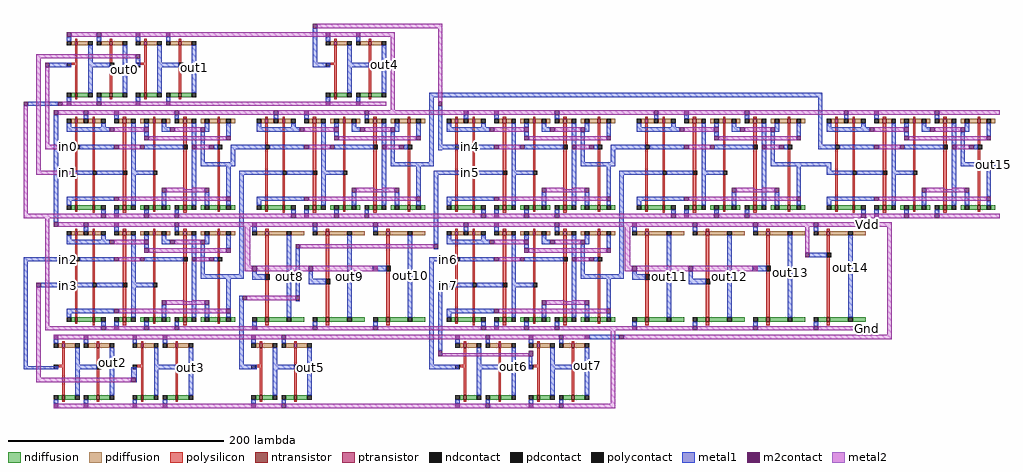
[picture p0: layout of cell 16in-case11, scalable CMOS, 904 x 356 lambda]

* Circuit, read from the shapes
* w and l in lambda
.subckt 16in-case11 Gnd Vdd in0 in1 in2 in3 in4 in5 in6 in7 out0 out1 out10 out11 out12 out13 out14 out15 out2 out3 out4 out5 out6 out7 out8 out9
M1 n1 in2 Gnd VSUBS nfet w=4 l=2
M2 n2 in2 n3 VSUBS nfet w=4 l=2
M3 n4 in0 n5 VSUBS nfet w=4 l=2
M4 n6 in0 Gnd VSUBS nfet w=4 l=2
M5 Gnd in3 n2 VSUBS nfet w=4 l=2
M6 Gnd in1 n4 VSUBS nfet w=4 l=2
M7 out2 n1 Gnd VSUBS nfet w=4 l=2
M8 out0 n6 Gnd VSUBS nfet w=4 l=2
M9 n7 in3 Gnd VSUBS nfet w=4 l=3
M10 n8 in1 Gnd VSUBS nfet w=4 l=3
M11 n9 in3 Gnd VSUBS nfet w=4 l=2
M12 n10 in1 Gnd VSUBS nfet w=4 l=2
M13 n11 n7 Gnd VSUBS nfet w=4 l=2
M14 n12 n8 Gnd VSUBS nfet w=4 l=2
M15 out3 n9 Gnd VSUBS nfet w=4 l=2
M16 out1 n10 Gnd VSUBS nfet w=4 l=2
M17 n13 in2 Gnd VSUBS nfet w=4 l=3
M18 n14 in0 Gnd VSUBS nfet w=4 l=3
M19 n3 n13 n11 VSUBS nfet w=4 l=2
M20 n5 n14 n12 VSUBS nfet w=4 l=2
M21 n15 in5 Gnd VSUBS nfet w=4 l=2
M22 out8 Vdd Gnd VSUBS nfet w=4 l=3
M23 n16 n5 n17 VSUBS nfet w=4 l=2
M24 Gnd n3 n16 VSUBS nfet w=4 l=2
M25 out5 n15 Gnd VSUBS nfet w=4 l=2
M26 n18 n3 Gnd VSUBS nfet w=4 l=3
M27 out9 Vdd Gnd VSUBS nfet w=4 l=3
M28 n19 in4 Gnd VSUBS nfet w=4 l=2
M29 n20 n18 Gnd VSUBS nfet w=4 l=2
M30 out4 n19 Gnd VSUBS nfet w=4 l=2
M31 n21 n5 Gnd VSUBS nfet w=4 l=3
M32 out10 Vdd Gnd VSUBS nfet w=4 l=3
M33 n17 n21 n20 VSUBS nfet w=4 l=2
M34 n22 in6 n23 VSUBS nfet w=4 l=2
M35 n24 in4 n25 VSUBS nfet w=4 l=2
M36 n26 in6 Gnd VSUBS nfet w=4 l=2
M37 Gnd in7 n22 VSUBS nfet w=4 l=2
M38 Gnd in5 n24 VSUBS nfet w=4 l=2
M39 out6 n26 Gnd VSUBS nfet w=4 l=2
M40 n27 in7 Gnd VSUBS nfet w=4 l=3
M41 n28 in5 Gnd VSUBS nfet w=4 l=3
M42 n29 n27 Gnd VSUBS nfet w=4 l=2
M43 n30 n28 Gnd VSUBS nfet w=4 l=2
M44 n31 in7 Gnd VSUBS nfet w=4 l=2
M45 n32 in6 Gnd VSUBS nfet w=4 l=3
M46 n33 in4 Gnd VSUBS nfet w=4 l=3
M47 out7 n31 Gnd VSUBS nfet w=4 l=2
M48 n23 n32 n29 VSUBS nfet w=4 l=2
M49 n25 n33 n30 VSUBS nfet w=4 l=2
M50 out11 Vdd Gnd VSUBS nfet w=4 l=3
M51 n34 n25 n35 VSUBS nfet w=4 l=2
M52 Gnd n23 n34 VSUBS nfet w=4 l=2
M53 n36 n23 Gnd VSUBS nfet w=4 l=3
M54 out12 Vdd Gnd VSUBS nfet w=4 l=3
M55 n37 n36 Gnd VSUBS nfet w=4 l=2
M56 n38 n25 Gnd VSUBS nfet w=4 l=3
M57 out13 Vdd Gnd VSUBS nfet w=4 l=3
M58 n35 n38 n37 VSUBS nfet w=4 l=2
M59 out14 Vdd Gnd VSUBS nfet w=4 l=3
M60 n39 n17 out15 VSUBS nfet w=4 l=2
M61 Gnd n35 n39 VSUBS nfet w=4 l=2
M62 n40 n35 Gnd VSUBS nfet w=4 l=3
M63 n41 n40 Gnd VSUBS nfet w=4 l=2
M64 n42 n17 Gnd VSUBS nfet w=4 l=3
M65 out15 n42 n41 VSUBS nfet w=4 l=2
M66 n1 in2 Vdd NWELL pfet w=4 l=2
M67 Vdd in2 n43 NWELL pfet w=4 l=2
M68 Vdd in0 n44 NWELL pfet w=4 l=2
M69 n6 in0 Vdd NWELL pfet w=4 l=2
M70 n43 in3 Vdd NWELL pfet w=4 l=2
M71 n44 in1 Vdd NWELL pfet w=4 l=2
M72 out2 n1 Vdd NWELL pfet w=4 l=2
M73 out0 n6 Vdd NWELL pfet w=4 l=2
M74 n7 in3 Vdd NWELL pfet w=4 l=3
M75 n8 in1 Vdd NWELL pfet w=4 l=3
M76 n9 in3 Vdd NWELL pfet w=4 l=2
M77 n10 in1 Vdd NWELL pfet w=4 l=2
M78 n3 n7 n43 NWELL pfet w=4 l=2
M79 n5 n8 n44 NWELL pfet w=4 l=2
M80 out3 n9 Vdd NWELL pfet w=4 l=2
M81 out1 n10 Vdd NWELL pfet w=4 l=2
M82 n13 in2 Vdd NWELL pfet w=4 l=3
M83 n14 in0 Vdd NWELL pfet w=4 l=3
M84 n43 n13 n3 NWELL pfet w=4 l=2
M85 n44 n14 n5 NWELL pfet w=4 l=2
M86 n15 in5 Vdd NWELL pfet w=4 l=2
M87 out8 Vdd Vdd NWELL pfet w=4 l=3
M88 Vdd n5 n45 NWELL pfet w=4 l=2
M89 n45 n3 Vdd NWELL pfet w=4 l=2
M90 out5 n15 Vdd NWELL pfet w=4 l=2
M91 n18 n3 Vdd NWELL pfet w=4 l=3
M92 out9 Vdd Vdd NWELL pfet w=4 l=3
M93 n19 in4 Vdd NWELL pfet w=4 l=2
M94 n17 n18 n45 NWELL pfet w=4 l=2
M95 out4 n19 Vdd NWELL pfet w=4 l=2
M96 n21 n5 Vdd NWELL pfet w=4 l=3
M97 out10 Vdd Vdd NWELL pfet w=4 l=3
M98 n45 n21 n17 NWELL pfet w=4 l=2
M99 Vdd in6 n46 NWELL pfet w=4 l=2
M100 Vdd in4 n47 NWELL pfet w=4 l=2
M101 n26 in6 Vdd NWELL pfet w=4 l=2
M102 n46 in7 Vdd NWELL pfet w=4 l=2
M103 n47 in5 Vdd NWELL pfet w=4 l=2
M104 out6 n26 Vdd NWELL pfet w=4 l=2
M105 n27 in7 Vdd NWELL pfet w=4 l=3
M106 n28 in5 Vdd NWELL pfet w=4 l=3
M107 n23 n27 n46 NWELL pfet w=4 l=2
M108 n25 n28 n47 NWELL pfet w=4 l=2
M109 n31 in7 Vdd NWELL pfet w=4 l=2
M110 n32 in6 Vdd NWELL pfet w=4 l=3
M111 n33 in4 Vdd NWELL pfet w=4 l=3
M112 out7 n31 Vdd NWELL pfet w=4 l=2
M113 n46 n32 n23 NWELL pfet w=4 l=2
M114 n47 n33 n25 NWELL pfet w=4 l=2
M115 out11 Vdd Vdd NWELL pfet w=4 l=3
M116 Vdd n25 n48 NWELL pfet w=4 l=2
M117 n48 n23 Vdd NWELL pfet w=4 l=2
M118 n36 n23 Vdd NWELL pfet w=4 l=3
M119 out12 Vdd Vdd NWELL pfet w=4 l=3
M120 n35 n36 n48 NWELL pfet w=4 l=2
M121 n38 n25 Vdd NWELL pfet w=4 l=3
M122 out13 Vdd Vdd NWELL pfet w=4 l=3
M123 n48 n38 n35 NWELL pfet w=4 l=2
M124 out14 Vdd Vdd NWELL pfet w=4 l=3
M125 Vdd n17 n49 NWELL pfet w=4 l=2
M126 n49 n35 Vdd NWELL pfet w=4 l=2
M127 n40 n35 Vdd NWELL pfet w=4 l=3
M128 out15 n40 n49 NWELL pfet w=4 l=2
M129 n42 n17 Vdd NWELL pfet w=4 l=3
M130 n49 n42 out15 NWELL pfet w=4 l=2
.ends

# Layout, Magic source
magic
tech scmos
<< metal1 >>
rect -12 244 8 248
rect 68 245 72 252
rect 232 248 236 280
rect 56 240 60 244
rect 120 242 124 246
rect 232 244 248 248
rect 296 244 300 248
rect 340 216 704 220
rect -32 208 -4 212
rect -8 100 -4 200
rect 168 168 184 172
rect 340 156 344 216
rect 348 172 352 208
rect 700 172 704 216
rect 348 168 380 172
rect 517 168 533 172
rect 700 168 713 172
rect 348 167 352 168
rect 332 152 344 156
rect 684 152 712 156
rect 860 152 864 156
rect 344 144 360 148
rect 376 144 380 148
rect 708 144 712 152
rect 344 80 348 144
rect -36 64 8 68
rect -36 -33 -32 64
rect 208 48 212 52
rect -20 40 8 44
rect 216 32 220 76
rect 344 75 348 76
rect 692 68 708 72
rect 340 64 360 68
rect 264 48 268 52
rect 320 49 324 53
rect 164 28 167 32
rect 44 -32 48 -28
rect 164 -32 168 28
rect 216 27 220 28
rect 340 -32 344 64
rect 728 56 732 60
rect 672 52 676 56
rect 560 48 564 52
rect 616 48 620 52
rect 348 40 360 44
rect 348 -19 352 40
rect 488 -8 516 -4
rect -36 -36 -4 -33
rect 64 -44 69 -34
rect 117 -36 121 -32
rect 164 -36 180 -32
rect 228 -36 232 -32
rect 340 -36 367 -32
rect 416 -36 420 -31
rect 432 -36 435 -24
rect 484 -35 488 -30
rect 68 -48 69 -44
<< metal2 >>
rect 236 280 352 284
rect 56 272 308 276
rect -24 252 68 256
rect -36 108 -32 208
rect -24 148 -20 252
rect -16 172 -12 244
rect 0 208 8 212
rect 56 208 299 212
rect -4 200 4 204
rect 304 200 308 272
rect 348 212 352 280
rect 338 200 375 204
rect 688 200 705 204
rect -16 168 4 172
rect -24 144 4 148
rect -36 104 5 108
rect 336 104 373 108
rect 688 104 705 108
rect -24 -44 -20 40
rect -16 4 -12 104
rect -4 96 3 100
rect 336 96 353 100
rect 220 76 344 80
rect 688 72 692 98
rect 744 96 768 100
rect 171 28 216 32
rect -16 0 5 4
rect 337 0 354 4
rect -8 -8 180 -4
rect 228 -8 368 -4
rect 416 -8 436 -4
rect 352 -24 432 -21
rect -24 -48 64 -44
rect 508 -68 512 4
rect 744 0 748 4
rect 764 -4 768 96
rect 520 -8 768 -4
rect -8 -72 181 -68
rect 228 -72 368 -68
rect 416 -72 436 -68
rect 483 -72 512 -68
<< polycontact >>
rect 708 68 712 72
<< m2contact >>
rect 232 280 236 284
rect 68 252 72 256
rect -16 244 -12 248
rect -36 208 -32 212
rect -4 208 0 212
rect -8 200 -4 204
rect 4 168 8 172
rect 348 208 352 212
rect 4 144 8 148
rect -8 96 -4 100
rect 216 76 220 80
rect -24 40 -20 44
rect 344 76 348 80
rect 688 68 692 72
rect 288 56 292 60
rect 167 28 171 32
rect 216 28 220 32
rect 640 56 644 60
rect 484 -8 488 -4
rect 516 -8 520 -4
rect 348 -24 352 -19
rect 432 -24 436 -19
rect 64 -48 68 -44
use 2in-xor  2in-xor_0
transform 1 0 704 0 1 104
box 0 0 164 100
use 4in-case11  4in-case11_0
transform 1 0 0 0 1 104
box 0 -104 340 100
use 4in-case11  4in-case11_1
transform 1 0 352 0 1 104
box 0 -104 340 100
use buffer  buffer_0
transform 1 0 4 0 1 208
box 0 0 56 68
use buffer  buffer_1
transform 1 0 68 0 1 208
box 0 0 56 68
use buffer  buffer_2
transform 1 0 244 0 1 208
box 0 0 56 68
use buffer  buffer_3
transform 1 0 432 0 1 -72
box 0 0 56 68
use buffer  buffer_4
transform 1 0 -8 0 1 -72
box 0 0 56 68
use buffer  buffer_5
transform 1 0 65 0 1 -72
box 0 0 56 68
use buffer  buffer_6
transform 1 0 175 0 1 -72
box 0 0 56 68
use buffer  buffer_7
transform 1 0 364 0 1 -72
box 0 0 56 68
use inverter  inverter_0
transform 1 0 692 0 1 0
box 0 0 56 100
<< labels >>
rlabel metal1 320 49 324 53 1 out10
rlabel metal1 264 48 268 52 1 out9
rlabel metal1 208 48 212 52 1 out8
rlabel m2contact 4 168 8 172 1 in0
rlabel m2contact 4 144 8 148 1 in1
rlabel metal1 4 64 8 68 1 in2
rlabel metal1 4 40 8 44 1 in3
rlabel metal1 44 -32 48 -28 1 out2
rlabel metal1 117 -36 121 -32 1 out3
rlabel metal1 376 144 380 148 1 in5
rlabel metal1 376 168 380 172 1 in4
rlabel metal1 860 152 864 156 1 out15
rlabel metal1 356 40 360 44 1 in7
rlabel metal1 356 64 360 68 1 in6
rlabel metal1 560 48 564 52 1 out11
rlabel metal1 616 48 620 52 1 out12
rlabel metal1 672 52 676 56 1 out13
rlabel metal1 728 56 732 60 1 out14
rlabel metal2 744 96 748 100 1 Vdd
rlabel metal2 744 0 748 4 1 Gnd
rlabel metal1 296 244 300 248 1 out4
rlabel metal1 228 -36 232 -32 1 out5
rlabel metal1 416 -36 420 -31 1 out6
rlabel metal1 484 -35 488 -30 1 out7
rlabel metal1 56 240 60 244 1 out0
rlabel metal1 120 242 124 246 1 out1
<< end >>

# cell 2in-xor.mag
magic
tech scmos
<< polysilicon >>
rect 12 92 14 94
rect 28 92 30 94
rect 84 92 86 94
rect 144 92 146 94
rect 12 68 14 88
rect 12 12 14 64
rect 28 44 30 88
rect 84 44 86 88
rect 144 68 146 88
rect 28 12 30 40
rect 84 12 86 40
rect 144 12 146 64
rect 12 6 14 8
rect 28 5 30 8
rect 84 6 86 8
rect 144 6 146 8
<< ndiffusion >>
rect 8 8 12 12
rect 14 8 28 12
rect 30 8 36 12
rect 72 8 76 12
rect 80 8 84 12
rect 86 8 92 12
rect 96 8 100 12
rect 128 8 132 12
rect 136 8 144 12
rect 146 8 152 12
rect 156 8 160 12
<< pdiffusion >>
rect 8 88 12 92
rect 14 88 20 92
rect 24 88 28 92
rect 30 88 36 92
rect 72 88 76 92
rect 80 88 84 92
rect 86 88 92 92
rect 96 88 100 92
rect 128 88 132 92
rect 136 88 144 92
rect 146 88 152 92
rect 156 88 160 92
<< metal1 >>
rect 20 92 24 96
rect 4 84 8 88
rect 36 84 40 88
rect 76 84 80 88
rect 4 80 44 84
rect 92 84 96 88
rect 92 80 100 84
rect 132 80 136 88
rect 76 76 80 80
rect 4 64 12 68
rect 16 64 48 68
rect 76 64 112 68
rect 128 52 132 80
rect 152 76 156 88
rect 140 64 144 68
rect 128 48 160 52
rect 4 40 28 44
rect 32 40 56 44
rect 64 40 84 44
rect 4 16 48 20
rect 4 12 8 16
rect 92 12 96 24
rect 36 4 40 8
rect 132 12 136 24
rect 152 20 156 48
rect 152 12 156 16
rect 76 4 80 8
<< metal2 >>
rect 0 96 20 100
rect 24 96 104 100
rect 108 96 164 100
rect 48 80 76 84
rect 104 80 128 84
rect 80 72 152 76
rect 52 64 72 68
rect 124 64 136 68
rect 96 27 113 28
rect 120 27 132 28
rect 96 24 132 27
rect 52 16 152 20
rect 0 0 36 4
rect 40 0 76 4
rect 80 0 104 4
rect 108 0 164 4
<< ntransistor >>
rect 12 8 14 12
rect 28 8 30 12
rect 84 8 86 12
rect 144 8 146 12
<< ptransistor >>
rect 12 88 14 92
rect 28 88 30 92
rect 84 88 86 92
rect 144 88 146 92
<< polycontact >>
rect 12 64 16 68
rect 112 64 116 68
rect 144 64 148 68
rect 28 40 32 44
rect 56 40 60 44
rect 84 40 88 44
<< ndcontact >>
rect 4 8 8 12
rect 36 8 40 12
rect 76 8 80 12
rect 92 8 96 12
rect 132 8 136 12
rect 152 8 156 12
<< pdcontact >>
rect 4 88 8 92
rect 20 88 24 92
rect 36 88 40 92
rect 76 88 80 92
rect 92 88 96 92
rect 132 88 136 92
rect 152 88 156 92
<< m2contact >>
rect 20 96 24 100
rect 44 80 48 84
rect 76 80 80 84
rect 100 80 104 84
rect 128 80 132 84
rect 76 72 80 76
rect 48 64 52 68
rect 72 64 76 68
rect 120 64 124 68
rect 152 72 156 76
rect 136 64 140 68
rect 92 24 96 28
rect 48 16 52 20
rect 36 0 40 4
rect 132 24 136 28
rect 152 16 156 20
rect 76 0 80 4
use inv  inv_0
transform 1 0 44 0 1 0
box 0 0 28 100
use inv  inv_1
transform 1 0 100 0 1 0
box 0 0 28 100
<< end >>

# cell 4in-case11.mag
magic
tech scmos
<< metal1 >>
rect 156 64 172 68
rect 156 49 160 64
rect 164 40 185 44
rect 164 -52 168 40
rect 155 -56 168 -52
rect 176 -52 180 -49
rect 287 -49 300 -44
rect 176 -57 188 -52
rect 228 -56 232 -49
rect 228 -61 244 -56
<< metal2 >>
rect 161 96 181 100
rect 160 0 180 4
rect 160 -8 180 -4
rect 169 -44 174 -8
rect 169 -49 176 -44
rect 180 -49 228 -44
rect 232 -49 292 -44
rect 159 -104 179 -100
<< polycontact >>
rect 300 -49 304 -44
rect 188 -57 192 -52
rect 244 -61 248 -56
<< m2contact >>
rect 176 -49 180 -44
rect 228 -49 232 -44
use 2in-xor  2in-xor_0
transform 1 0 0 0 1 0
box 0 0 164 100
use 2in-xor  2in-xor_1
transform 1 0 0 0 1 -104
box 0 0 164 100
use 2in-xor  2in-xor_2
transform 1 0 176 0 1 0
box 0 0 164 100
use inverter  inverter_0
transform 1 0 172 0 1 -104
box 0 0 56 100
use inverter  inverter_1
transform 1 0 228 0 1 -104
box 0 0 56 100
use inverter  inverter_2
transform 1 0 284 0 1 -104
box 0 0 56 100
<< end >>

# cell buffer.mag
magic
tech scmos
<< polysilicon >>
rect 8 60 10 62
rect 40 60 42 62
rect 8 40 10 56
rect 4 38 10 40
rect 8 12 10 38
rect 40 40 42 56
rect 40 12 42 36
rect 8 6 10 8
rect 40 6 42 8
<< ndiffusion >>
rect 4 8 8 12
rect 10 8 20 12
rect 32 8 40 12
rect 42 8 52 12
<< pdiffusion >>
rect 4 56 8 60
rect 10 56 20 60
rect 32 56 40 60
rect 42 56 52 60
<< metal1 >>
rect 0 60 4 64
rect 28 60 32 64
rect 20 40 24 56
rect 20 36 40 40
rect 20 12 24 36
rect 52 12 56 56
rect 0 4 4 8
rect 28 4 32 8
<< metal2 >>
rect 4 64 28 68
rect 32 64 56 68
rect 4 0 28 4
rect 32 0 56 4
<< ntransistor >>
rect 8 8 10 12
rect 40 8 42 12
<< ptransistor >>
rect 8 56 10 60
rect 40 56 42 60
<< polycontact >>
rect 0 36 4 40
rect 40 36 44 40
<< ndcontact >>
rect 0 8 4 12
rect 20 8 24 12
rect 28 8 32 12
rect 52 8 56 12
<< pdcontact >>
rect 0 56 4 60
rect 20 56 24 60
rect 28 56 32 60
rect 52 56 56 60
<< m2contact >>
rect 0 64 4 68
rect 28 64 32 68
rect 0 0 4 4
rect 28 0 32 4
<< end >>

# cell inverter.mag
magic
tech scmos
<< polysilicon >>
rect 16 92 19 94
rect 16 12 19 88
rect 16 5 19 8
<< ndiffusion >>
rect 8 8 16 12
rect 19 8 36 12
rect 40 8 52 12
<< pdiffusion >>
rect 8 88 16 92
rect 19 88 36 92
rect 40 88 52 92
<< metal1 >>
rect 4 92 8 96
rect 36 12 40 88
rect 4 4 8 8
<< metal2 >>
rect 0 96 4 100
rect 8 96 56 100
rect 0 0 4 4
rect 8 0 56 4
<< ntransistor >>
rect 16 8 19 12
<< ptransistor >>
rect 16 88 19 92
<< ndcontact >>
rect 4 8 8 12
rect 36 8 40 12
<< pdcontact >>
rect 4 88 8 92
rect 36 88 40 92
<< m2contact >>
rect 4 96 8 100
rect 4 0 8 4
<< end >>

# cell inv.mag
magic
tech scmos
<< polysilicon >>
rect 12 92 15 94
rect 12 12 15 88
rect 12 5 15 8
<< ndiffusion >>
rect 8 8 12 12
rect 15 8 20 12
<< pdiffusion >>
rect 8 88 12 92
rect 15 88 20 92
<< metal1 >>
rect 4 92 8 96
rect 20 12 24 88
rect 4 4 8 8
<< metal2 >>
rect 0 96 4 100
rect 8 96 28 100
rect 0 0 4 4
rect 8 0 28 4
<< ntransistor >>
rect 12 8 15 12
<< ptransistor >>
rect 12 88 15 92
<< ndcontact >>
rect 4 8 8 12
rect 20 8 24 12
<< pdcontact >>
rect 4 88 8 92
rect 20 88 24 92
<< m2contact >>
rect 4 96 8 100
rect 4 0 8 4
<< end >>
